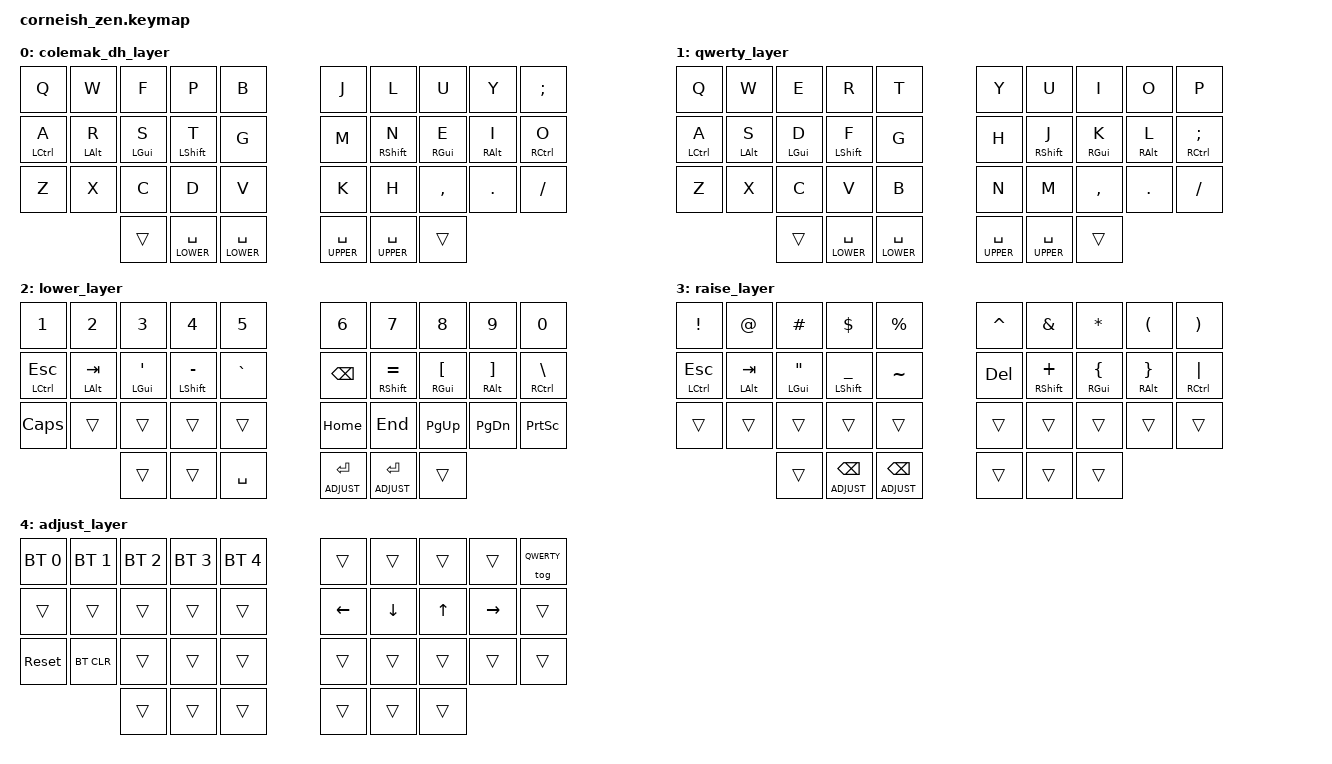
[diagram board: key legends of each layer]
#include <behaviors.dtsi>
#include <dt-bindings/zmk/keys.h>
#include <dt-bindings/zmk/bt.h>

#define COLEMAK 0
#define QWERTY 1
#define LOWER 2
#define UPPER 3
#define ADJUST 4

/ {
  chosen {
    //zmk,matrix_transform = &default_transform;
    zmk,matrix_transform = &five_column_transform;
  };
};

/ {
        behaviors {
                hm: homerow_mods {
                        compatible = "zmk,behavior-hold-tap";
                        label = "HOMEROW_MODS";
                        #binding-cells = <2>;
                        tapping_term_ms = <150>;
                        quick_tap_ms = <150>;
                        flavor = "balanced";
                        bindings = <&kp>, <&kp>;

                };
                lm: layer_mods {
                        compatible = "zmk,behavior-hold-tap";
                        label = "LAYER_MODS";
                        #binding-cells = <2>;
                        tapping_term_ms = <150>;
                        flavor = "balanced";
                        quick_tap_ms = <150>;
                        bindings = <&mo>, <&kp>;

                };

        };
        keymap {
                compatible = "zmk,keymap";

               colemak_dh_layer {
                        bindings = <
           &kp Q       &kp W      &kp F      &kp P       &kp B           &kp J &kp L        &kp U      &kp Y      &kp SEMI       
           &hm LCTRL A &hm LALT R &hm LGUI S &hm LSHFT T &kp G           &kp M &hm RSHFT N  &hm RGUI E &hm RALT I &hm RCTRL O   
           &kp Z       &kp X      &kp C      &kp D       &kp V           &kp K &kp H        &kp COMMA  &kp DOT    &kp FSLH             
                            &trans &lm LOWER SPACE &lm LOWER SPACE     &lm UPPER SPACE &lm UPPER SPACE &trans
                        >;
                };
                qwerty_layer {
                        bindings = <
           &kp Q       &kp W      &kp E      &kp R       &kp T           &kp Y &kp U        &kp I      &kp O      &kp P         
           &hm LCTRL A &hm LALT S &hm LGUI D &hm LSHFT F &kp G           &kp H &hm RSHFT J  &hm RGUI K &hm RALT L &hm RCTRL SEMI         
           &kp Z       &kp X      &kp C      &kp V       &kp B           &kp N &kp M        &kp COMMA  &kp DOT    &kp FSLH       
                            &trans &lm LOWER SPACE &lm LOWER SPACE     &lm UPPER SPACE &lm UPPER SPACE &trans
                        >;
                };
                lower_layer {
                        bindings = <
           &kp N1        &kp N2       &kp N3       &kp N4          &kp N5               &kp N6    &kp N7          &kp N8        &kp N9        &kp N0    
           &hm LCTRL ESC &hm LALT TAB &hm LGUI SQT &hm LSHFT MINUS &kp GRAVE            &kp BSPC  &hm RSHFT EQUAL &hm RGUI LBKT &hm RALT RBKT &hm RCTRL BSLH  
           &kp CLCK      &trans       &trans       &trans          &trans          &kp HOME  &kp END         &kp PG_UP     &kp PG_DN     &kp PSCRN 
                                                        &trans &trans &kp SPACE    &lm ADJUST RET &lm ADJUST RET &trans
                        >;
                };

                raise_layer {
                        bindings = <
           &kp EXCL      &kp AT       &kp HASH      &kp DLLR         &kp PRCNT       &kp CARET &kp AMPS        &kp ASTRK     &kp LPAR      &kp RPAR 
           &hm LCTRL ESC &hm LALT TAB &hm LGUI DQT  &hm LSHIFT UNDER &kp TILDE       &kp DEL   &hm RSHIFT PLUS &hm RGUI LBRC &hm RALT RBRC &hm RCTRL PIPE 
           &trans        &trans       &trans        &trans           &trans          &trans    &trans          &trans        &trans        &trans   
                                     &trans &lm ADJUST BSPC &lm ADJUST BSPC        &trans &trans &trans 
                      >;
                };
                adjust_layer {
                        bindings = <
           &bt BT_SEL 0  &bt BT_SEL 1 &bt BT_SEL 2 &bt BT_SEL 3 &bt BT_SEL 4         &trans   &trans   &trans &trans    &tog QWERTY       
           &trans        &trans       &trans       &trans       &trans               &kp LEFT &kp DOWN &kp UP &kp RIGHT &trans        
           &sys_reset    &bt BT_CLR   &trans       &trans       &trans               &trans   &trans   &trans &trans    &trans   
                                                &trans    &trans   &trans        &trans     &trans  &trans
                        >;
                };
        };
};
